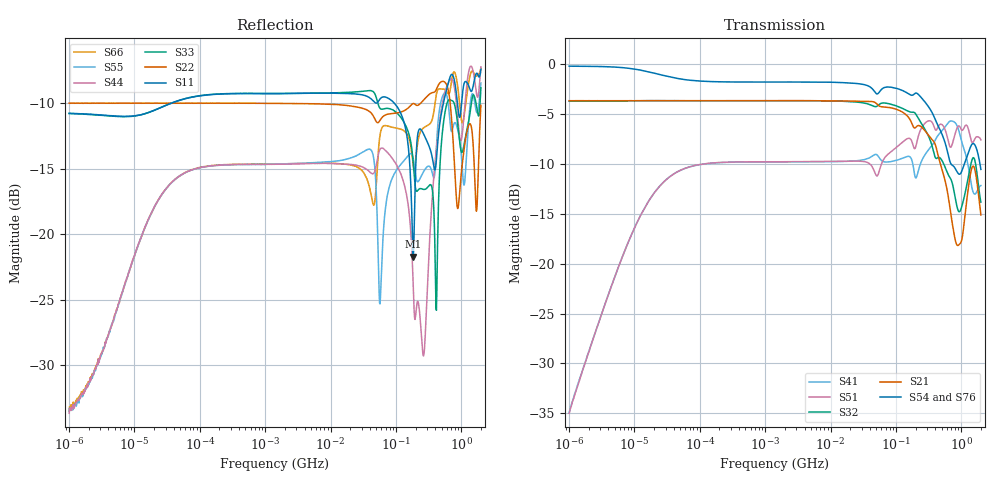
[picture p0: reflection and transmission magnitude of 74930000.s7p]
!This data is being provided by Würth Elektronik eiSos GmbH & Co. KG to the industry for analysis.
! Document information:
! Version:rev24a Date: 10/30/2024
! Component information:
! Match Code: WE-STST  P/N:74930000 Size: 4532
! Disclaimer:  While Würth Elektronik eiSos has made every reasonable effort to ensure the accuracy
! of the information provided, Würth Elektronik eiSos does not guarantee the exemption of error on the
! data collection measurements, nor does Würth Elektronik eiSos guarantee that the information is current.
! Würth Elektronik eiSos reserves the right to make any adjustments at any time without notice.
! Würth Elektronik eiSos expressly disclaims all implied warranties regarding this measurement data collection.
! Note 1 – This data measurement is representative according to the product implementation into the fixture.
! Component behavior is sensitive to implementation into the fixture, which includes board
! materials, trace geometry information, connector pin out, layer connection, use of de-embedding
! techniques, etc.
! Note 2 - The fixture was designed specifically to match the 50 Ohm line impedance, as well as the connector impedance,
! in order to accomplish a reliable measurement without reflections in the trace. Any other implementation of the fixture will change the obtained
! measurement performance. The used fixture behavior was de-embedded to accomplish reliable measurement results.
! The test setup consisted of the following:
! 	- PNA N5242B
!	- Calibrations are SOLT (short open load thru)
! 	- De-embedding of the SMA’s or line cards were included.
!	- Equipment Settings -
!  - Sampling - 1001 points
!		- IF BW – 0.1 kHz
!		- Averaging – Not used
!  |/|  ||@-----|6|---> Port 7
!	Port 1 --->|1|-----@||@  |/|
!  |/|  @||@-----|4|---> Port 6
!	Port 2 --->|5|-----@||
!  |/|  @||@-----|3|---> Port 5
!	Port 3 --->|2|-----@||@  |/|
!  |/|  ||@-----|7|---> Port 4
! *VNA Port --> |Port in Datasheet|
! |Port in Datasheet| --> VNA Port
! For further information regarding this testing, please contact
! Wuerth Elektronik eiSos
! Contact: EDA team in QDC
! Email: libraries@we-online.com or libraries@we-online.de
!S7P File: Measurements: <S11,S12,S13,S14,S15,S16,S17>,
!<S21,S22,S23,S24,S25,S26,S27>,
!<S31,S32,S33,S34,S35,S36,S37>,
!<S41,S42,S43,S44,S45,S46,S47>,
!<S51,S52,S53,S54,S55,S56,S57>,
!<S61,S62,S63,S64,S65,S66,S67>,
!<S71,S72,S73,S74,S75,S76,S77>:Log Frequency Sweep
# HZ S RI R 50
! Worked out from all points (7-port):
!   1001 points, 1 kHz to 2 GHz, reference 50 ohm
!   strongest paths, dB at 1 kHz, 37.61 kHz, 1.414 MHz, 53.18 MHz, 2 GHz:
!     S54: -0.2, -1.3, -1.8, -2.9, -10.5
!     S76: -0.2, -1.3, -1.8, -3.0, -9.7
!     S21: -3.6, -3.6, -3.6, -4.1, -15.1
!     S32: -3.7, -3.6, -3.6, -4.1, -13.8
!     S51: -35.0, -11.1, -9.8, -11.1, -7.6
!     S41: -34.9, -11.1, -9.8, -9.2, -12.1
!   lowest |S11| = -21.7 dB at 185.2 MHz (marker M1), VSWR 1.18, Z = 58.9 + j0.853 ohm
!   |S11| at or under -10 dB: 49.09 MHz to 51.04 MHz (1.952 MHz wide, 3.9 % of centre); 94.27 MHz to 534.5 MHz (440.2 MHz wide, 140 % of centre); 874 MHz to 1.014 GHz (140.3 MHz wide, 14.9 % of centre)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
